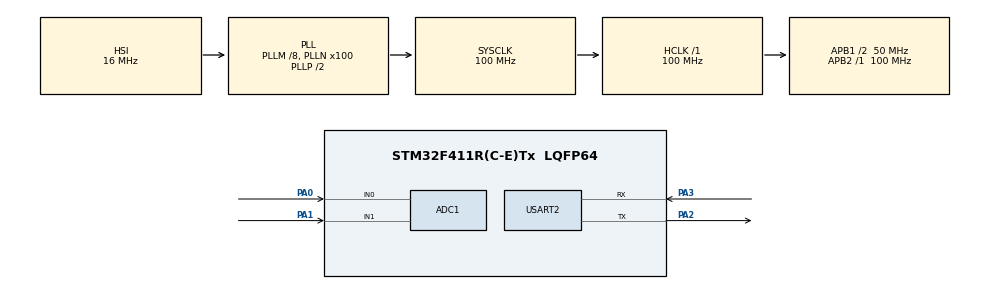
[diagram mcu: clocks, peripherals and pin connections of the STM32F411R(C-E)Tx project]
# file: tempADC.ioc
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ADC1.Channel-0\#ChannelRegularConversion=ADC_CHANNEL_0
ADC1.Channel-1\#ChannelInjectedConversion=ADC_CHANNEL_0
ADC1.Channel-2\#ChannelRegularConversion=ADC_CHANNEL_1
ADC1.ContinuousConvMode=ENABLE
ADC1.InjNumberOfConversion=1
ADC1.InjectedOffset-1\#ChannelInjectedConversion=0
ADC1.InjectedRank-1\#ChannelInjectedConversion=1
ADC1.NbrOfConversion=2
ADC1.NbrOfConversionFlag=1
ADC1.Rank-0\#ChannelRegularConversion=1
ADC1.Rank-2\#ChannelRegularConversion=2
ADC1.SamplingTime-0\#ChannelRegularConversion=ADC_SAMPLETIME_84CYCLES
ADC1.SamplingTime-1\#ChannelInjectedConversion=ADC_SAMPLETIME_84CYCLES
ADC1.SamplingTime-2\#ChannelRegularConversion=ADC_SAMPLETIME_84CYCLES
ADC1.ScanConvMode=ENABLE
ADC1.master=1
Mcu.Family=STM32F4
Mcu.Name=STM32F411R(C-E)Tx
Mcu.Package=LQFP64
NVIC.PriorityGroup=NVIC_PRIORITYGROUP_4
NVIC.USART2_IRQn=true\:0\:0\:false\:false\:true\:true\:true\:true
PA0-WKUP.Signal=ADCx_IN0
PA1.Signal=ADCx_IN1
PA2.Mode=Asynchronous
PA2.Signal=USART2_TX
PA3.Mode=Asynchronous
PA3.Signal=USART2_RX
ProjectManager.HeapSize=0x200
ProjectManager.StackSize=0x400
ProjectManager.TargetToolchain=STM32CubeIDE
RCC.48MHZClocksFreq_Value=50000000
RCC.AHBFreq_Value=100000000
RCC.APB1CLKDivider=RCC_HCLK_DIV2
RCC.APB1Freq_Value=50000000
RCC.APB1TimFreq_Value=100000000
RCC.APB2Freq_Value=100000000
RCC.APB2TimFreq_Value=100000000
RCC.CortexFreq_Value=100000000
RCC.HCLKFreq_Value=100000000
RCC.HSE_VALUE=25000000
RCC.HSI_VALUE=16000000
RCC.LSE_VALUE=32768
RCC.PLLM=8
RCC.PLLN=100
RCC.SYSCLKFreq_VALUE=100000000
RCC.SYSCLKSource=RCC_SYSCLKSOURCE_PLLCLK
RCC.VCOOutputFreq_Value=200000000
SH.ADCx_IN0.0=ADC1_IN0,IN0
SH.ADCx_IN1.0=ADC1_IN1,IN1
USART2.VirtualMode=VM_ASYNC
board=custom

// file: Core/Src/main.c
/* USER CODE BEGIN Header */
/**
 ******************************************************************************
 * @file           : main.c
 * @brief          : Main program body
 ******************************************************************************
 * @attention
 *
 * Copyright (c) 2024 STMicroelectronics.
 * All rights reserved.
 *
 * This software is licensed under terms that can be found in the LICENSE file
 * in the root directory of this software component.
 * If no LICENSE file comes with this software, it is provided AS-IS.
 *
 ******************************************************************************
 */
/* USER CODE END Header */
#include "main.h"

ADC_HandleTypeDef hadc1;

UART_HandleTypeDef huart2;

void SystemClock_Config(void);
static void MX_GPIO_Init(void);
static void MX_ADC1_Init(void);
static void MX_USART2_UART_Init(void);

/* USER CODE BEGIN 0 */
uint32_t adcValue;
double Kalman(double measurement, uint8_t ch) {
	// Kalman filter setup
	static double P[] = {1.0,1.0};
	const double varP = 0.0001; // pow(0.01, 2)
	static double R[] = {0.25,0.25}; //pow(0.5, 2);
	static double K[] = {1.0,1.0};
	static double X[] = {20.0,20.0};

	// Kalman Simple Filter
	P[ch] = P[ch] + varP;
	K[ch] = P[ch] / (P[ch] + R[ch]);
	X[ch] = (K[ch] * measurement) + (1 - K[ch]) * X[ch];
	P[ch] = (1 - K[ch]) * P[ch];

	return X[ch];
}
/* USER CODE END 0 */

int main(void)
{

  /* MCU Configuration--------------------------------------------------------*/

  /* Reset of all peripherals, Initializes the Flash interface and the Systick. */
  HAL_Init();

  /* Configure the system clock */
  SystemClock_Config();

  /* Initialize all configured peripherals */
  MX_GPIO_Init();
  MX_ADC1_Init();
  MX_USART2_UART_Init();
  /* USER CODE BEGIN 2 */
	initUart(&huart2);
	printf("start temperature with ADC example\n");
  /* USER CODE END 2 */

  /* Infinite loop */
  /* USER CODE BEGIN WHILE */
	while (1){
		// AD convert
		static uint16_t valueArray[100] = { 0, };
		static uint8_t valuePosition = 0;

		HAL_ADC_Start(&hadc1);
		HAL_ADC_PollForConversion(&hadc1,1);
		uint16_t tmpValue = 4095 - HAL_ADC_GetValue(&hadc1);
		//HAL_ADC_Stop(&hadc1);
		HAL_ADC_Start(&hadc1);
		HAL_ADC_PollForConversion(&hadc1,1);
		uint16_t cdsValue = 4095 - HAL_ADC_GetValue(&hadc1);
		HAL_ADC_Stop(&hadc1);

		adcValue -= valueArray[valuePosition];
		//valueArray[valuePosition] = HAL_ADC_GetValue(&hadc1);
		valueArray[valuePosition] = tmpValue;
		adcValue += valueArray[valuePosition];
		valuePosition++;
		valuePosition %= 100;

		// UART send
		printf("%d\t%d\t%d\t%d\t%d\n",cdsValue,(int)Kalman((double)cdsValue,0), tmpValue, adcValue / 100,(int)Kalman((double)tmpValue,1));
    /* USER CODE END WHILE */

	}
}
void SystemClock_Config(void)
{
  RCC_OscInitTypeDef RCC_OscInitStruct = {0};
  RCC_ClkInitTypeDef RCC_ClkInitStruct = {0};

  /** Configure the main internal regulator output voltage
  */
  __HAL_RCC_PWR_CLK_ENABLE();
  __HAL_PWR_VOLTAGESCALING_CONFIG(PWR_REGULATOR_VOLTAGE_SCALE1);

  /** Initializes the RCC Oscillators according to the specified parameters
  * in the RCC_OscInitTypeDef structure.
  */
  RCC_OscInitStruct.OscillatorType = RCC_OSCILLATORTYPE_HSI;
  RCC_OscInitStruct.HSIState = RCC_HSI_ON;
  RCC_OscInitStruct.HSICalibrationValue = RCC_HSICALIBRATION_DEFAULT;
  RCC_OscInitStruct.PLL.PLLState = RCC_PLL_ON;
  RCC_OscInitStruct.PLL.PLLSource = RCC_PLLSOURCE_HSI;
  RCC_OscInitStruct.PLL.PLLM = 8;
  RCC_OscInitStruct.PLL.PLLN = 100;
  RCC_OscInitStruct.PLL.PLLP = RCC_PLLP_DIV2;
  RCC_OscInitStruct.PLL.PLLQ = 4;
  if (HAL_RCC_OscConfig(&RCC_OscInitStruct) != HAL_OK)
  {
    Error_Handler();
  }

  /** Initializes the CPU, AHB and APB buses clocks
  */
  RCC_ClkInitStruct.ClockType = RCC_CLOCKTYPE_HCLK|RCC_CLOCKTYPE_SYSCLK
                              |RCC_CLOCKTYPE_PCLK1|RCC_CLOCKTYPE_PCLK2;
  RCC_ClkInitStruct.SYSCLKSource = RCC_SYSCLKSOURCE_PLLCLK;
  RCC_ClkInitStruct.AHBCLKDivider = RCC_SYSCLK_DIV1;
  RCC_ClkInitStruct.APB1CLKDivider = RCC_HCLK_DIV2;
  RCC_ClkInitStruct.APB2CLKDivider = RCC_HCLK_DIV1;

  if (HAL_RCC_ClockConfig(&RCC_ClkInitStruct, FLASH_LATENCY_3) != HAL_OK)
  {
    Error_Handler();
  }
}

static void MX_ADC1_Init(void)
{

  ADC_ChannelConfTypeDef sConfig = {0};
  ADC_InjectionConfTypeDef sConfigInjected = {0};

  /** Configure the global features of the ADC (Clock, Resolution, Data Alignment and number of conversion)
  */
  hadc1.Instance = ADC1;
  hadc1.Init.ClockPrescaler = ADC_CLOCK_SYNC_PCLK_DIV4;
  hadc1.Init.Resolution = ADC_RESOLUTION_12B;
  hadc1.Init.ScanConvMode = ENABLE;
  hadc1.Init.ContinuousConvMode = ENABLE;
  hadc1.Init.DiscontinuousConvMode = DISABLE;
  hadc1.Init.ExternalTrigConvEdge = ADC_EXTERNALTRIGCONVEDGE_NONE;
  hadc1.Init.ExternalTrigConv = ADC_SOFTWARE_START;
  hadc1.Init.DataAlign = ADC_DATAALIGN_RIGHT;
  hadc1.Init.NbrOfConversion = 2;
  hadc1.Init.DMAContinuousRequests = DISABLE;
  hadc1.Init.EOCSelection = ADC_EOC_SINGLE_CONV;
  if (HAL_ADC_Init(&hadc1) != HAL_OK)
  {
    Error_Handler();
  }

  /** Configure for the selected ADC regular channel its corresponding rank in the sequencer and its sample time.
  */
  sConfig.Channel = ADC_CHANNEL_0;
  sConfig.Rank = 1;
  sConfig.SamplingTime = ADC_SAMPLETIME_84CYCLES;
  if (HAL_ADC_ConfigChannel(&hadc1, &sConfig) != HAL_OK)
  {
    Error_Handler();
  }

  /** Configure for the selected ADC regular channel its corresponding rank in the sequencer and its sample time.
  */
  sConfig.Channel = ADC_CHANNEL_1;
  sConfig.Rank = 2;
  if (HAL_ADC_ConfigChannel(&hadc1, &sConfig) != HAL_OK)
  {
    Error_Handler();
  }

  /** Configures for the selected ADC injected channel its corresponding rank in the sequencer and its sample time
  */
  sConfigInjected.InjectedChannel = ADC_CHANNEL_0;
  sConfigInjected.InjectedRank = 1;
  sConfigInjected.InjectedNbrOfConversion = 1;
  sConfigInjected.InjectedSamplingTime = ADC_SAMPLETIME_84CYCLES;
  sConfigInjected.ExternalTrigInjecConvEdge = ADC_EXTERNALTRIGINJECCONVEDGE_NONE;
  sConfigInjected.ExternalTrigInjecConv = ADC_INJECTED_SOFTWARE_START;
  sConfigInjected.AutoInjectedConv = DISABLE;
  sConfigInjected.InjectedDiscontinuousConvMode = DISABLE;
  sConfigInjected.InjectedOffset = 0;
  if (HAL_ADCEx_InjectedConfigChannel(&hadc1, &sConfigInjected) != HAL_OK)
  {
    Error_Handler();
  }

}

static void MX_USART2_UART_Init(void)
{

  huart2.Instance = USART2;
  huart2.Init.BaudRate = 115200;
  huart2.Init.WordLength = UART_WORDLENGTH_8B;
  huart2.Init.StopBits = UART_STOPBITS_1;
  huart2.Init.Parity = UART_PARITY_NONE;
  huart2.Init.Mode = UART_MODE_TX_RX;
  huart2.Init.HwFlowCtl = UART_HWCONTROL_NONE;
  huart2.Init.OverSampling = UART_OVERSAMPLING_16;
  if (HAL_UART_Init(&huart2) != HAL_OK)
  {
    Error_Handler();
  }

}

static void MX_GPIO_Init(void)
{

  /* GPIO Ports Clock Enable */
  __HAL_RCC_GPIOA_CLK_ENABLE();

}

void Error_Handler(void)
{
	__disable_irq();
	while (1){
	}
}
